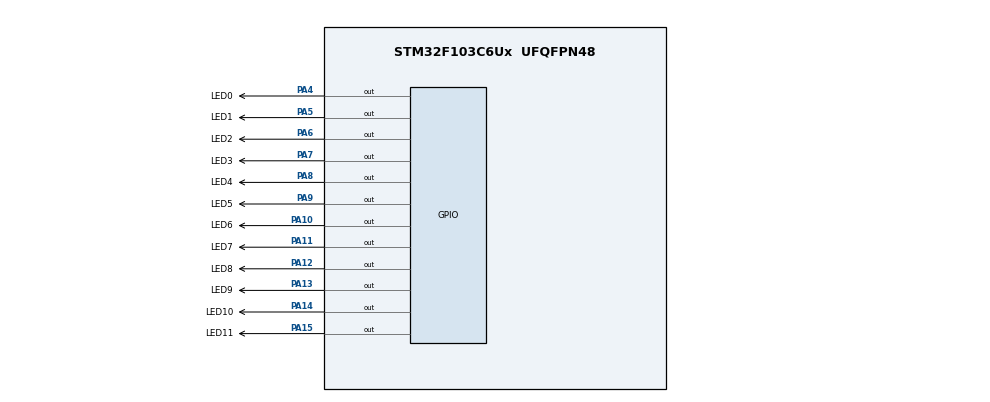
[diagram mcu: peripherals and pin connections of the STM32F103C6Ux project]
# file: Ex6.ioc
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Mcu.Family=STM32F1
Mcu.Name=STM32F103C6Ux
Mcu.Package=UFQFPN48
NVIC.PriorityGroup=NVIC_PRIORITYGROUP_4
PA10.GPIO_Label=LED6
PA10.Signal=GPIO_Output
PA11.GPIO_Label=LED7
PA11.Signal=GPIO_Output
PA12.GPIO_Label=LED8
PA12.Signal=GPIO_Output
PA13.GPIO_Label=LED9
PA13.Signal=GPIO_Output
PA14.GPIO_Label=LED10
PA14.Signal=GPIO_Output
PA15.GPIO_Label=LED11
PA15.Signal=GPIO_Output
PA4.GPIO_Label=LED0
PA4.Signal=GPIO_Output
PA5.GPIO_Label=LED1
PA5.Signal=GPIO_Output
PA6.GPIO_Label=LED2
PA6.Signal=GPIO_Output
PA7.GPIO_Label=LED3
PA7.Signal=GPIO_Output
PA8.GPIO_Label=LED4
PA8.Signal=GPIO_Output
PA9.GPIO_Label=LED5
PA9.Signal=GPIO_Output
ProjectManager.HeapSize=0x200
ProjectManager.StackSize=0x400
ProjectManager.TargetToolchain=STM32CubeIDE
RCC.APB1Freq_Value=8000000
RCC.APB2Freq_Value=8000000
VP_SYS_VS_ND.Mode=No_Debug
board=custom

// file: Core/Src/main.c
/* USER CODE BEGIN Header */
/**
  ******************************************************************************
  * @file           : main.c
  * @brief          : Main program body
  ******************************************************************************
  * @attention
  *
  * <h2><center>&copy; Copyright (c) 2023 STMicroelectronics.
  * All rights reserved.</center></h2>
  *
  * This software component is licensed by ST under BSD 3-Clause license,
  * the "License"; You may not use this file except in compliance with the
  * License. You may obtain a copy of the License at:
  *                        opensource.org/licenses/BSD-3-Clause
  *
  ******************************************************************************
  */
/* USER CODE END Header */
#include "main.h"

void SystemClock_Config(void);
static void MX_GPIO_Init(void);

/* USER CODE BEGIN 0 */
void displayLED (int counter, int *state)
{
	if (*state == 0)
	{
		*state = 1;
		HAL_GPIO_TogglePin(LED0_GPIO_Port, LED0_Pin);
	}
	else if (counter == 0)
	{
		HAL_GPIO_TogglePin(LED0_GPIO_Port, LED0_Pin);
		HAL_GPIO_TogglePin(LED11_GPIO_Port, LED11_Pin);
	}
	else if (counter == 1)
	{
		HAL_GPIO_TogglePin(LED0_GPIO_Port, LED0_Pin);
		HAL_GPIO_TogglePin(LED1_GPIO_Port, LED1_Pin);
	}
	else if (counter == 2)
	{
		HAL_GPIO_TogglePin(LED1_GPIO_Port, LED1_Pin);
		HAL_GPIO_TogglePin(LED2_GPIO_Port, LED2_Pin);
	}
	else if (counter == 3)
	{
		HAL_GPIO_TogglePin(LED2_GPIO_Port, LED2_Pin);
		HAL_GPIO_TogglePin(LED3_GPIO_Port, LED3_Pin);
	}
	else if (counter == 4)
	{
		HAL_GPIO_TogglePin(LED3_GPIO_Port, LED3_Pin);
		HAL_GPIO_TogglePin(LED4_GPIO_Port, LED4_Pin);
	}
	else if (counter == 5)
	{
		HAL_GPIO_TogglePin(LED4_GPIO_Port, LED4_Pin);
		HAL_GPIO_TogglePin(LED5_GPIO_Port, LED5_Pin);
	}
	else if (counter == 6)
	{
		HAL_GPIO_TogglePin(LED5_GPIO_Port, LED5_Pin);
		HAL_GPIO_TogglePin(LED6_GPIO_Port, LED6_Pin);
	}
	else if (counter == 7)
	{
		HAL_GPIO_TogglePin(LED6_GPIO_Port, LED6_Pin);
		HAL_GPIO_TogglePin(LED7_GPIO_Port, LED7_Pin);
	}
	else if (counter == 8)
	{
		HAL_GPIO_TogglePin(LED7_GPIO_Port, LED7_Pin);
		HAL_GPIO_TogglePin(LED8_GPIO_Port, LED8_Pin);
	}
	else if (counter == 9)
	{
		HAL_GPIO_TogglePin(LED8_GPIO_Port, LED8_Pin);
		HAL_GPIO_TogglePin(LED9_GPIO_Port, LED9_Pin);
	}
	else if (counter == 10)
	{
		HAL_GPIO_TogglePin(LED9_GPIO_Port, LED9_Pin);
		HAL_GPIO_TogglePin(LED10_GPIO_Port, LED10_Pin);
	}
	else if (counter == 11)
	{
		HAL_GPIO_TogglePin(LED10_GPIO_Port, LED10_Pin);
		HAL_GPIO_TogglePin(LED11_GPIO_Port, LED11_Pin);
	}
}
/* USER CODE END 0 */

int main(void)
{

  /* MCU Configuration--------------------------------------------------------*/

  /* Reset of all peripherals, Initializes the Flash interface and the Systick. */
  HAL_Init();

  /* Configure the system clock */
  SystemClock_Config();

  /* Initialize all configured peripherals */
  MX_GPIO_Init();

  /* Infinite loop */
  /* USER CODE BEGIN WHILE */
  int counter = 0;
  int state = 0;
  while (1)
  {
	if (counter >= 12) counter = 0;
	displayLED(counter++, &state);
	HAL_Delay(1000);
    /* USER CODE END WHILE */

  }
}

void SystemClock_Config(void)
{
  RCC_OscInitTypeDef RCC_OscInitStruct = {0};
  RCC_ClkInitTypeDef RCC_ClkInitStruct = {0};

  /** Initializes the RCC Oscillators according to the specified parameters
  * in the RCC_OscInitTypeDef structure.
  */
  RCC_OscInitStruct.OscillatorType = RCC_OSCILLATORTYPE_HSI;
  RCC_OscInitStruct.HSIState = RCC_HSI_ON;
  RCC_OscInitStruct.HSICalibrationValue = RCC_HSICALIBRATION_DEFAULT;
  RCC_OscInitStruct.PLL.PLLState = RCC_PLL_NONE;
  if (HAL_RCC_OscConfig(&RCC_OscInitStruct) != HAL_OK)
  {
    Error_Handler();
  }
  /** Initializes the CPU, AHB and APB buses clocks
  */
  RCC_ClkInitStruct.ClockType = RCC_CLOCKTYPE_HCLK|RCC_CLOCKTYPE_SYSCLK
                              |RCC_CLOCKTYPE_PCLK1|RCC_CLOCKTYPE_PCLK2;
  RCC_ClkInitStruct.SYSCLKSource = RCC_SYSCLKSOURCE_HSI;
  RCC_ClkInitStruct.AHBCLKDivider = RCC_SYSCLK_DIV1;
  RCC_ClkInitStruct.APB1CLKDivider = RCC_HCLK_DIV1;
  RCC_ClkInitStruct.APB2CLKDivider = RCC_HCLK_DIV1;

  if (HAL_RCC_ClockConfig(&RCC_ClkInitStruct, FLASH_LATENCY_0) != HAL_OK)
  {
    Error_Handler();
  }
}

static void MX_GPIO_Init(void)
{
  GPIO_InitTypeDef GPIO_InitStruct = {0};

  /* GPIO Ports Clock Enable */
  __HAL_RCC_GPIOA_CLK_ENABLE();

  /*Configure GPIO pin Output Level */
  HAL_GPIO_WritePin(GPIOA, LED0_Pin|LED1_Pin|LED2_Pin|LED3_Pin
                          |LED4_Pin|LED5_Pin|LED6_Pin|LED7_Pin
                          |LED8_Pin|LED9_Pin|LED10_Pin|LED11_Pin, GPIO_PIN_RESET);

  /*Configure GPIO pins : LED0_Pin LED1_Pin LED2_Pin LED3_Pin
                           LED4_Pin LED5_Pin LED6_Pin LED7_Pin
                           LED8_Pin LED9_Pin LED10_Pin LED11_Pin */
  GPIO_InitStruct.Pin = LED0_Pin|LED1_Pin|LED2_Pin|LED3_Pin
                          |LED4_Pin|LED5_Pin|LED6_Pin|LED7_Pin
                          |LED8_Pin|LED9_Pin|LED10_Pin|LED11_Pin;
  GPIO_InitStruct.Mode = GPIO_MODE_OUTPUT_PP;
  GPIO_InitStruct.Pull = GPIO_NOPULL;
  GPIO_InitStruct.Speed = GPIO_SPEED_FREQ_LOW;
  HAL_GPIO_Init(GPIOA, &GPIO_InitStruct);

}

void Error_Handler(void)
{
  __disable_irq();
  while (1)
  {
  }
}

/************************ (C) COPYRIGHT STMicroelectronics *****END OF FILE****/
